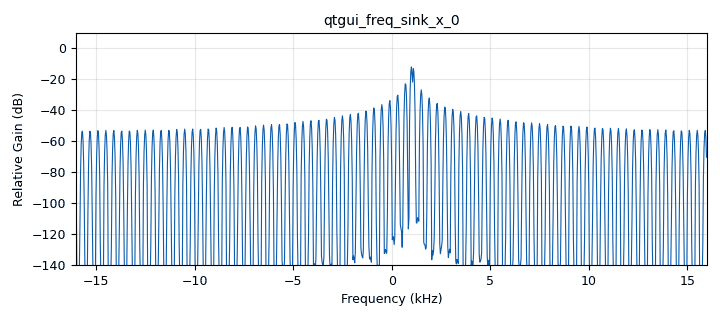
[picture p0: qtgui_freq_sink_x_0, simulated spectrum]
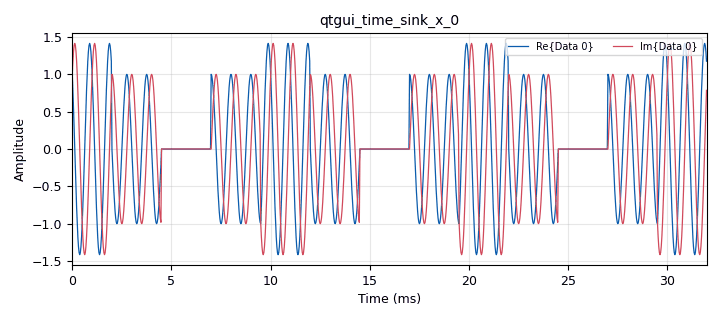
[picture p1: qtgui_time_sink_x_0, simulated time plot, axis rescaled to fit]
options:
  parameters:
    author: JuanD
    generate_options: qt_gui
    id: OOK_sim
    output_language: python
    title: OOK
  states: {}

blocks:
- name: samp_rate
  id: variable
  parameters:
    value: '32000'
  states: {}
- name: analog_sig_source_x_0
  id: analog_sig_source_x
  parameters:
    amp: '1'
    freq: 1e3
    offset: '0'
    phase: '0'
    samp_rate: samp_rate
    type: complex
    waveform: analog.GR_COS_WAVE
  states: {}
- name: analog_sig_source_x_0_0
  id: analog_sig_source_x
  parameters:
    amp: '1'
    freq: '100'
    offset: '0'
    phase: '0'
    samp_rate: samp_rate
    type: complex
    waveform: analog.GR_SQR_WAVE
  states: {}
- name: blocks_multiply_xx_0
  id: blocks_multiply_xx
  parameters:
    type: complex
  states: {}
- name: osmosdr_sink_0
  id: osmosdr_sink
  parameters:
    bb_gain0: '20'
    freq0: 150e6
    gain0: '20'
    if_gain0: '20'
    sample_rate: samp_rate*50
    sync: sync
    type: fc32
  states: {}
- name: qtgui_freq_sink_x_0
  id: qtgui_freq_sink_x
  parameters:
    bw: samp_rate
    fc: '0'
    fftsize: '1024'
    type: complex
    wintype: firdes.WIN_BLACKMAN_hARRIS
  states: {}
- name: qtgui_time_sink_x_0
  id: qtgui_time_sink_x
  parameters:
    size: '1024'
    srate: samp_rate
    type: complex
  states: {}
- name: rational_resampler_xxx_0
  id: rational_resampler_xxx
  parameters:
    decim: '1'
    interp: '50'
    taps: ''
    type: ccc
  states: {}

connections:
- [analog_sig_source_x_0, '0', blocks_multiply_xx_0, '0']
- [analog_sig_source_x_0_0, '0', blocks_multiply_xx_0, '1']
- [blocks_multiply_xx_0, '0', qtgui_freq_sink_x_0, '0']
- [blocks_multiply_xx_0, '0', qtgui_time_sink_x_0, '0']
- [blocks_multiply_xx_0, '0', rational_resampler_xxx_0, '0']
- [rational_resampler_xxx_0, '0', osmosdr_sink_0, '0']

metadata:
  file_format: 1
